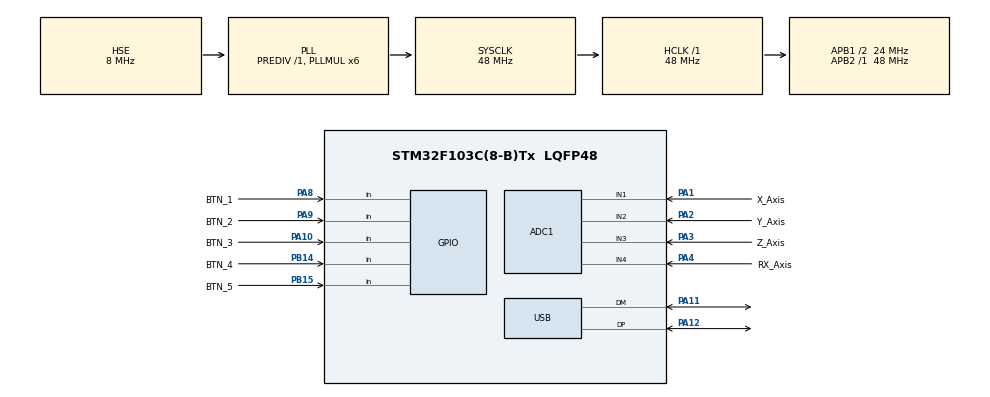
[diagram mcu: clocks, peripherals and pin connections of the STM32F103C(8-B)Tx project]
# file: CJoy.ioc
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ADC1.Channel-0\#ChannelRegularConversion=ADC_CHANNEL_1
ADC1.Channel-1\#ChannelRegularConversion=ADC_CHANNEL_1
ADC1.Channel-2\#ChannelRegularConversion=ADC_CHANNEL_1
ADC1.Channel-3\#ChannelRegularConversion=ADC_CHANNEL_1
ADC1.ContinuousConvMode=ENABLE
ADC1.NbrOfConversion=4
ADC1.NbrOfConversionFlag=1
ADC1.Rank-0\#ChannelRegularConversion=1
ADC1.Rank-1\#ChannelRegularConversion=2
ADC1.Rank-2\#ChannelRegularConversion=3
ADC1.Rank-3\#ChannelRegularConversion=4
ADC1.SamplingTime-0\#ChannelRegularConversion=ADC_SAMPLETIME_1CYCLE_5
ADC1.SamplingTime-1\#ChannelRegularConversion=ADC_SAMPLETIME_1CYCLE_5
ADC1.SamplingTime-2\#ChannelRegularConversion=ADC_SAMPLETIME_1CYCLE_5
ADC1.SamplingTime-3\#ChannelRegularConversion=ADC_SAMPLETIME_1CYCLE_5
ADC1.master=1
Dma.ADC1.0.Direction=DMA_PERIPH_TO_MEMORY
Dma.ADC1.0.Instance=DMA1_Channel1
Dma.ADC1.0.MemDataAlignment=DMA_MDATAALIGN_HALFWORD
Dma.ADC1.0.MemInc=DMA_MINC_ENABLE
Dma.ADC1.0.Mode=DMA_CIRCULAR
Dma.ADC1.0.PeriphDataAlignment=DMA_PDATAALIGN_HALFWORD
Dma.ADC1.0.PeriphInc=DMA_PINC_DISABLE
Dma.ADC1.0.Priority=DMA_PRIORITY_LOW
Dma.Request0=ADC1
Mcu.Family=STM32F1
Mcu.Name=STM32F103C(8-B)Tx
Mcu.Package=LQFP48
NVIC.DMA1_Channel1_IRQn=true\:0\:0\:false\:false\:true\:false\:true\:true
NVIC.PriorityGroup=NVIC_PRIORITYGROUP_4
NVIC.USB_LP_CAN1_RX0_IRQn=true\:0\:0\:false\:false\:true\:false\:true\:true
PA1.GPIO_Label=X_Axis
PA1.Signal=ADCx_IN1
PA10.GPIO_Label=BTN_3
PA10.GPIO_PuPd=GPIO_PULLUP
PA10.Signal=GPIO_Input
PA11.Mode=Device
PA11.Signal=USB_DM
PA12.Mode=Device
PA12.Signal=USB_DP
PA13.Mode=Trace_Asynchronous_SW
PA13.Signal=SYS_JTMS-SWDIO
PA14.Mode=Trace_Asynchronous_SW
PA14.Signal=SYS_JTCK-SWCLK
PA2.GPIO_Label=Y_Axis
PA2.Signal=ADCx_IN2
PA3.GPIO_Label=Z_Axis
PA3.Signal=ADCx_IN3
PA4.GPIO_Label=RX_Axis
PA4.Signal=ADCx_IN4
PA8.GPIO_Label=BTN_1
PA8.GPIO_PuPd=GPIO_PULLUP
PA8.Signal=GPIO_Input
PA9.GPIO_Label=BTN_2
PA9.GPIO_PuPd=GPIO_PULLUP
PA9.Signal=GPIO_Input
PB14.GPIO_Label=BTN_4
PB14.GPIO_PuPd=GPIO_PULLUP
PB14.Signal=GPIO_Input
PB15.GPIO_Label=BTN_5
PB15.GPIO_PuPd=GPIO_PULLUP
PB15.Signal=GPIO_Input
PB3.Mode=Trace_Asynchronous_SW
PB3.Signal=SYS_JTDO-TRACESWO
PD0-OSC_IN.Mode=HSE-External-Oscillator
PD0-OSC_IN.Signal=RCC_OSC_IN
PD1-OSC_OUT.Mode=HSE-External-Oscillator
PD1-OSC_OUT.Signal=RCC_OSC_OUT
ProjectManager.HeapSize=0x200
ProjectManager.StackSize=0x400
ProjectManager.TargetToolchain=STM32CubeIDE
RCC.ADCPresc=RCC_ADCPCLK2_DIV4
RCC.AHBFreq_Value=48000000
RCC.APB1CLKDivider=RCC_HCLK_DIV2
RCC.APB1Freq_Value=24000000
RCC.APB1TimFreq_Value=48000000
RCC.APB2Freq_Value=48000000
RCC.APB2TimFreq_Value=48000000
RCC.HCLKFreq_Value=48000000
RCC.PLLMUL=RCC_PLL_MUL6
RCC.SYSCLKFreq_VALUE=48000000
RCC.SYSCLKSource=RCC_SYSCLKSOURCE_PLLCLK
RCC.USBFreq_Value=48000000
SH.ADCx_IN1.0=ADC1_IN1,IN1
SH.ADCx_IN2.0=ADC1_IN2,IN2
SH.ADCx_IN3.0=ADC1_IN3,IN3
SH.ADCx_IN4.0=ADC1_IN4,IN4
USB_DEVICE.CLASS_NAME_FS=CUSTOM_HID
USB_DEVICE.USBD_CUSTOMHID_OUTREPORT_BUF_SIZE=8
USB_DEVICE.USBD_CUSTOM_HID_REPORT_DESC_SIZE=64
USB_DEVICE.VirtualMode=CustomHid
USB_DEVICE.VirtualModeFS=Custom_Hid_FS
VP_USB_DEVICE_VS_USB_DEVICE_CUSTOM_HID_FS.Mode=CUSTOM_HID_FS
board=custom

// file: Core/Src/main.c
/* USER CODE BEGIN Header */
/**
  ******************************************************************************
  * @file           : main.c
  * @brief          : Main program body
  ******************************************************************************
  * @attention
  *
  * Copyright (c) 2025 STMicroelectronics.
  * All rights reserved.
  *
  * This software is licensed under terms that can be found in the LICENSE file
  * in the root directory of this software component.
  * If no LICENSE file comes with this software, it is provided AS-IS.
  *
  ******************************************************************************
  */
/* USER CODE END Header */
#include "main.h"
#include "adc.h"
#include "dma.h"
#include "usb_device.h"
#include "gpio.h"

/* USER CODE BEGIN Includes */
#include "usbd_customhid.h"
/* USER CODE END Includes */

/* USER CODE BEGIN PV */
extern USBD_HandleTypeDef hUsbDeviceFS;
extern ADC_HandleTypeDef hadc1;
extern uint8_t adc_data_ready;

typedef union
{
  struct
  {
    uint16_t X;
    uint16_t Y;
    uint16_t Z;
    uint16_t RX;
    struct
    {
      uint8_t button1 : 1;
      uint8_t button2 : 1;
      uint8_t button3 : 1;
      uint8_t button4 : 1;
      uint8_t button5 : 1;
      uint8_t button6 : 1;
      uint8_t button7 : 1;
      uint8_t button8 : 1;
      uint8_t button9 : 1;
      uint8_t button10 : 1;
      uint8_t button11 : 1;
      uint8_t button12 : 1;
      uint8_t button13 : 1;
      uint8_t button14 : 1;
      uint8_t button15 : 1;
      uint8_t button16 : 1;
    } buttons;
  } values;

  uint8_t bytes[sizeof(struct {
    uint16_t X;
    uint16_t Y;
    uint16_t Z;
    uint16_t RX;
    struct
    {
      uint8_t button1 : 1;
      uint8_t button2 : 1;
      uint8_t button3 : 1;
      uint8_t button4 : 1;
      uint8_t button5 : 1;
      uint8_t button6 : 1;
      uint8_t button7 : 1;
      uint8_t button8 : 1;
      uint8_t button9 : 1;
      uint8_t button10 : 1;
      uint8_t button11 : 1;
      uint8_t button12 : 1;
      uint8_t button13 : 1;
      uint8_t button14 : 1;
      uint8_t button15 : 1;
      uint8_t button16 : 1;
    } buttons;
  })];
} JData;

JData dataToSend;

uint8_t report_buffer[10];		//Variable to receive the report buffer
uint8_t send_buffer[10];
__ALIGN_BEGIN uint16_t adc_values[4] __ALIGN_END = {0};// [0]=X, [1]=Y, [2]=Z, [3]=Rx

uint16_t filtered_values[4];
#define FILTER_SAMPLES 32

extern PCD_HandleTypeDef hpcd_USB_FS;

uint16_t ADC_Read_Axis(GPIO_TypeDef* GPIOx, uint16_t GPIO_Pin);

/* USER CODE END PV */

void SystemClock_Config(void);

int main(void)
{

  /* MCU Configuration--------------------------------------------------------*/

  /* Reset of all peripherals, Initializes the Flash interface and the Systick. */
  HAL_Init();

  /* Configure the system clock */
  SystemClock_Config();

  /* Initialize all configured peripherals */
  MX_GPIO_Init();
  MX_DMA_Init();
  MX_ADC1_Init();
  MX_USB_DEVICE_Init();
  /* USER CODE BEGIN 2 */
  if (HAL_ADCEx_Calibration_Start(&hadc1) != HAL_OK)
  {
	  Error_Handler();
  }

  ADC_Start_DMA_Conversion();

  //  if (HAL_ADC_Start_DMA(&hadc1, (uint32_t *)adc_values, 4) != HAL_OK)
  //  {
	//    Error_Handler();
  //  }
  memset(&dataToSend, 0, sizeof(dataToSend));
  memset(send_buffer, 0, 10);

  /* USER CODE END 2 */

  /* Infinite loop */
  /* USER CODE BEGIN WHILE */
  uint32_t last_send_time = 0;
  uint32_t counter = 0;
  const uint32_t send_interval = 20; // Send at ~50Hz
  static uint32_t filter_buf[4];

  while (1)
  {
    /* USER CODE END WHILE */

    /* USER CODE BEGIN 3 */
    uint32_t now = HAL_GetTick();
    if (!adc_data_ready)
    {
      continue;
    }

    adc_data_ready= 0;

        //   uint16_t X = ADC_Read_Axis(X_Axis_GPIO_Port, X_Axis_Pin);
        //   uint16_t Y =  ADC_Read_Axis(Y_Axis_GPIO_Port, Y_Axis_Pin);
        //    uint16_t Z =ADC_Read_Axis(Z_Axis_GPIO_Port, Z_Axis_Pin);

        // static uint16_t filter_buf[4][FILTER_SAMPLES];
        // static uint8_t filter_idx = 0;
        // for (int i = 0; i < 4; i++)
        // {
        //   filter_buf[i][filter_idx] = adc_values[i];
        // }
        // filter_idx = (filter_idx + 1) % FILTER_SAMPLES;

        // for (int i = 0; i < 4; i++)
        // {
        //   uint32_t sum = 0;
        //   for (int j = 0; j < FILTER_SAMPLES; j++)
        //   {
        //     sum += filter_buf[i][j];
        //   }
        //   filtered_values[i] = sum / FILTER_SAMPLES;
        // }

        // for (int adcChanelIndex = 0; adcChanelIndex < 4; adcChanelIndex++)
        // {
        //   filter_buf[adcChanelIndex] = adc_values[adcChanelIndex];
        // }

        // for(int filterCount = 0; filterCount < FILTER_SAMPLES; filterCount++)
        // {
        //   for (int adcChanelIndex = 0; adcChanelIndex < 4; adcChanelIndex++)
        //   {
        //      uint32_t prevValue = filter_buf[adcChanelIndex];
        //      filter_buf[adcChanelIndex] = (prevValue + adc_values[adcChanelIndex])/2;
        //   }
        // }

        // uint16_t x_axis = filter_buf[0];
        // uint16_t y_axis = filter_buf[1];
        // uint16_t z_axis = filter_buf[2];
        // uint16_t rx_axis = filter_buf[3];

    dataToSend.values.X = ADC_GetFilteredValue(0);
    dataToSend.values.Y = ADC_GetFilteredValue(1);
    dataToSend.values.Z = ADC_GetFilteredValue(2);
    dataToSend.values.RX = ADC_GetFilteredValue(3);

    // dataToSend.values.X = filtered_values[0];
    // dataToSend.values.Y = filtered_values[1];
    // dataToSend.values.Z = filtered_values[2];
    // dataToSend.values.RX = filtered_values[3];

    //   send_buffer[0] = (uint8_t)(x_axis & 0xFF);       // X low
    //   send_buffer[1] = (uint8_t)((x_axis >> 8) & 0xFF);// X high

    //   send_buffer[2] = (uint8_t)(y_axis & 0xFF);       // Y low
    //   send_buffer[3] = (uint8_t)((y_axis >> 8) & 0xFF);// Y high

    //   send_buffer[4] = (uint8_t)(z_axis & 0xFF);       // Z low
    //   send_buffer[5] = (uint8_t)((z_axis >> 8) & 0xFF);// Z high

    //   send_buffer[6] = (uint8_t)(rx_axis & 0xFF);       // RX low
    //   send_buffer[7] = (uint8_t)((rx_axis >> 8) & 0xFF);// RX high

    //  if((now - last_send_time) >= send_interval){
    //     send_buffer[8] = 1 & 0x01;
    //     send_buffer[9] = 1 & 0x01;
    //    counter = 0;
    //  }

     dataToSend.values.buttons.button1 = HAL_GPIO_ReadPin(BTN_1_GPIO_Port, BTN_1_Pin) == GPIO_PIN_RESET;
     dataToSend.values.buttons.button2 = HAL_GPIO_ReadPin(BTN_2_GPIO_Port, BTN_2_Pin) == GPIO_PIN_RESET;
     dataToSend.values.buttons.button3 = HAL_GPIO_ReadPin(BTN_3_GPIO_Port, BTN_3_Pin) == GPIO_PIN_RESET;
     dataToSend.values.buttons.button4 = HAL_GPIO_ReadPin(BTN_4_GPIO_Port, BTN_4_Pin) == GPIO_PIN_RESET;
     dataToSend.values.buttons.button5 = HAL_GPIO_ReadPin(BTN_5_GPIO_Port, BTN_5_Pin) == GPIO_PIN_RESET;

    if ((now - last_send_time) >= send_interval)
    {
      /* hhid->state == CUSTOM_HID_BUSY, пока идёт IN-передача отчёта:
       * ставится в USBD_CUSTOM_HID_SendReport(), снимается в
       * USBD_CUSTOM_HID_DataIn() по завершении передачи. Отдельный
       * признак "отправка в процессе" не нужен. */
      USBD_CUSTOM_HID_HandleTypeDef *hhid = hUsbDeviceFS.pClassData;
      if (hhid->state != CUSTOM_HID_IDLE)
      {
        continue;
      }

      USBD_CUSTOM_HID_SendReport(&hUsbDeviceFS, dataToSend.bytes, 10);
      last_send_time = now;
    }
    }
  /* USER CODE END 3 */
}

void SystemClock_Config(void)
{
  RCC_OscInitTypeDef RCC_OscInitStruct = {0};
  RCC_ClkInitTypeDef RCC_ClkInitStruct = {0};
  RCC_PeriphCLKInitTypeDef PeriphClkInit = {0};

  /** Initializes the RCC Oscillators according to the specified parameters
  * in the RCC_OscInitTypeDef structure.
  */
  RCC_OscInitStruct.OscillatorType = RCC_OSCILLATORTYPE_HSE;
  RCC_OscInitStruct.HSEState = RCC_HSE_ON;
  RCC_OscInitStruct.HSEPredivValue = RCC_HSE_PREDIV_DIV1;
  RCC_OscInitStruct.HSIState = RCC_HSI_ON;
  RCC_OscInitStruct.PLL.PLLState = RCC_PLL_ON;
  RCC_OscInitStruct.PLL.PLLSource = RCC_PLLSOURCE_HSE;
  RCC_OscInitStruct.PLL.PLLMUL = RCC_PLL_MUL6;
  if (HAL_RCC_OscConfig(&RCC_OscInitStruct) != HAL_OK)
  {
    Error_Handler();
  }

  /** Initializes the CPU, AHB and APB buses clocks
  */
  RCC_ClkInitStruct.ClockType = RCC_CLOCKTYPE_HCLK|RCC_CLOCKTYPE_SYSCLK
                              |RCC_CLOCKTYPE_PCLK1|RCC_CLOCKTYPE_PCLK2;
  RCC_ClkInitStruct.SYSCLKSource = RCC_SYSCLKSOURCE_PLLCLK;
  RCC_ClkInitStruct.AHBCLKDivider = RCC_SYSCLK_DIV1;
  RCC_ClkInitStruct.APB1CLKDivider = RCC_HCLK_DIV2;
  RCC_ClkInitStruct.APB2CLKDivider = RCC_HCLK_DIV1;

  if (HAL_RCC_ClockConfig(&RCC_ClkInitStruct, FLASH_LATENCY_1) != HAL_OK)
  {
    Error_Handler();
  }
  PeriphClkInit.PeriphClockSelection = RCC_PERIPHCLK_ADC|RCC_PERIPHCLK_USB;
  PeriphClkInit.AdcClockSelection = RCC_ADCPCLK2_DIV4;
  PeriphClkInit.UsbClockSelection = RCC_USBCLKSOURCE_PLL;
  if (HAL_RCCEx_PeriphCLKConfig(&PeriphClkInit) != HAL_OK)
  {
    Error_Handler();
  }
}

/* USER CODE BEGIN 4 */
static uint32_t get_adc_channel(GPIO_TypeDef* GPIOx, uint16_t GPIO_Pin) {
    // Для STM32F1xx серии
    if (GPIOx == GPIOA) {
        switch (GPIO_Pin) {
            case GPIO_PIN_1: return ADC_CHANNEL_1;  // X_Axis
            case GPIO_PIN_2: return ADC_CHANNEL_2;  // Y_Axis
            case GPIO_PIN_3: return ADC_CHANNEL_3;  // Z_Axis
            case GPIO_PIN_0: return ADC_CHANNEL_0;
            case GPIO_PIN_4: return ADC_CHANNEL_4;
            case GPIO_PIN_5: return ADC_CHANNEL_5;
            case GPIO_PIN_6: return ADC_CHANNEL_6;
            case GPIO_PIN_7: return ADC_CHANNEL_7;
        }
    }
    return 0; // Неверный пин
}

// Чтение сырого значения с оси
uint16_t ADC_Read_Axis(GPIO_TypeDef* GPIOx, uint16_t GPIO_Pin) {
   // if (hadc1 == NULL) return 0;

    uint32_t channel = get_adc_channel(GPIOx, GPIO_Pin);
    if (channel == 0) return 0;

    ADC_ChannelConfTypeDef sConfig = {0};
    sConfig.Channel = channel;
    sConfig.Rank = 1;
    sConfig.SamplingTime = ADC_SAMPLETIME_28CYCLES_5;

    HAL_ADC_ConfigChannel(&hadc1, &sConfig);

    // Запуск и чтение
    HAL_ADC_Start(&hadc1);
    HAL_ADC_PollForConversion(&hadc1, HAL_MAX_DELAY);
    uint16_t value = HAL_ADC_GetValue(&hadc1);
    HAL_ADC_Stop(&hadc1);

    return value;
}

/* USER CODE END 4 */

void Error_Handler(void)
{
  __disable_irq();
  while (1)
  {
  }
}
